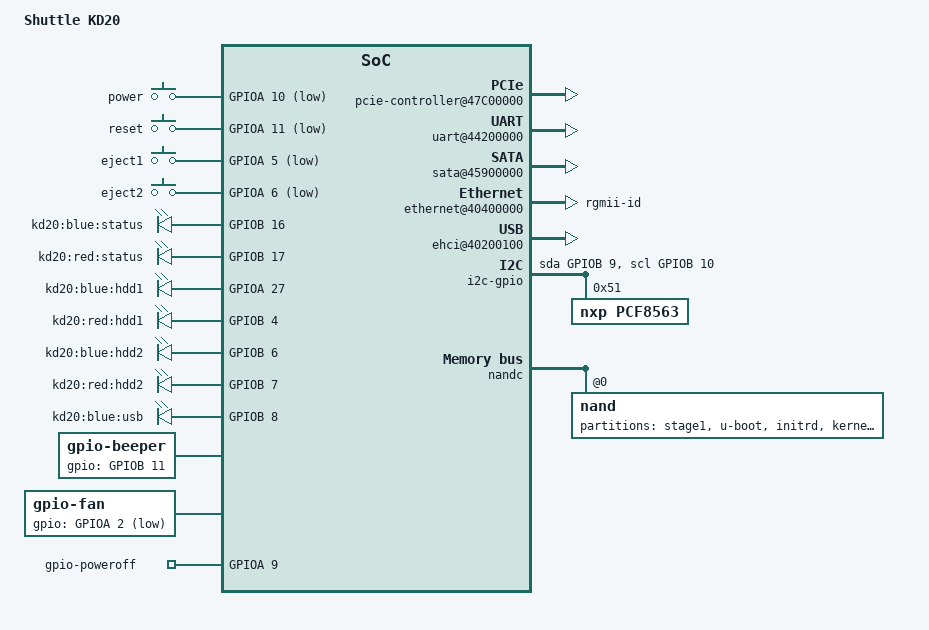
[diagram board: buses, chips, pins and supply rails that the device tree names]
/*
 * Copyright (C) 2014 Daniel Golle <daniel@makrotopia.org>
 *
 * This program is free software; you can redistribute it and/or modify
 * it under the terms of the GNU General Public License version 2 as
 * published by the Free Software Foundation.
 */

/dts-v1/;
#include "ox820.dtsi"

#include <dt-bindings/input/input.h>

/ {
	model = "Shuttle KD20";

	chosen {
		bootargs = "console=ttyS0,115200n8 earlyprintk=serial mem=256M";
	};

	pcie-controller@47C00000 {
		status = "okay";
	};

	uart@44200000 {
		status = "okay";
	};

	sata@45900000 {
		status = "okay";
		nr-ports = <2>;
	};

	ethernet@40400000 {
		status = "okay";
		snps,phy-addr = <1>;
		phy-mode = "rgmii-id";
	};

	ehci@40200100 {
		status = "okay";
	};

	i2c-gpio {
		compatible = "i2c-gpio";
		gpios = <&GPIOB 9 0 &GPIOB 10 0>;
		i2c-gpio,delay-us = <10>;
		#address-cells = <1>;
		#size-cells = <0>;
		pcf8563: rtc@51 {
			compatible = "nxp,pcf8563";
			reg = <0x51>;
		};
	};

	gpio-keys-polled {
		compatible = "gpio-keys-polled";
		#address-cells = <1>;
		#size-cells = <0>;
		poll-interval = <100>;

		power {
			label = "power";
			gpios = <&GPIOA 10 1>;
			linux,code = <KEY_POWER>;
		};
		reset {
			label = "reset";
			gpios = <&GPIOA 11 1>;
			linux,code = <KEY_RESTART>;
		};
		eject1 {
			label = "eject1";
			gpios = <&GPIOA 5 1>;
			linux,code = <KEY_EJECTCD>;
		};
		eject2 {
			label = "eject2";
			gpios = <&GPIOA 6 1>;
			linux,code = <162>;
		};
	};

	gpio-leds {
		compatible = "gpio-leds";
		status {
			label = "kd20:blue:status";
			gpios = <&GPIOB 16 0>;
		};
		status2 {
			label = "kd20:red:status";
			gpios = <&GPIOB 17 0>;
		};
		hdd1blue {
			label = "kd20:blue:hdd1";
			gpios = <&GPIOA 27 0>;
			linux,default-trigger = "ata1";
		};
		hdd1red {
			label = "kd20:red:hdd1";
			gpios = <&GPIOB 4 0>;
		};
		hdd2blue {
			label = "kd20:blue:hdd2";
			gpios = <&GPIOB 6 0>;
			linux,default-trigger = "ata2";
		};
		hdd2red {
			label = "kd20:red:hdd2";
			gpios = <&GPIOB 7 0>;
		};
		usb {
			label = "kd20:blue:usb";
			gpios = <&GPIOB 8 0>;
		};
	};

	beeper: beeper {
		compatible = "gpio-beeper";
		gpios = <&GPIOB 11 0>;
	};

	gpio-fan {
		compatible = "gpio-fan";
		gpios = <&GPIOA 2 1>;
		gpio-fan,speed-map = <0    0
				      3000 1>;
	};

	gpio-poweroff {
		compatible = "gpio-poweroff";
		gpios = <&GPIOA 9 0>;
	};
};

&nandc {
	status = "okay";

	nand@0 {
		reg = <0>;
		#address-cells = <1>;
		#size-cells = <1>;
		nand-ecc-mode = "soft";
		nand-ecc-algo = "hamming";

		partition@0 {
			label = "stage1";
			reg = <0x00000000 0x00040000>;
			read-only;
		};

		partition@40000 {
			label = "u-boot";
			reg = <0x00040000 0x00200000>;
			read-only;
		};

		partition@240000 {
			label = "initrd";
			reg = <0x00240000 0x00600000>;
		};

		partition@840000 {
			label = "kernel";
			reg = <0x00840000 0x007C0000>;
		};

		partition@e00000 {
			label = "ubi";
			reg = <0x01000000 0x07000000>;
		};
	};
};
